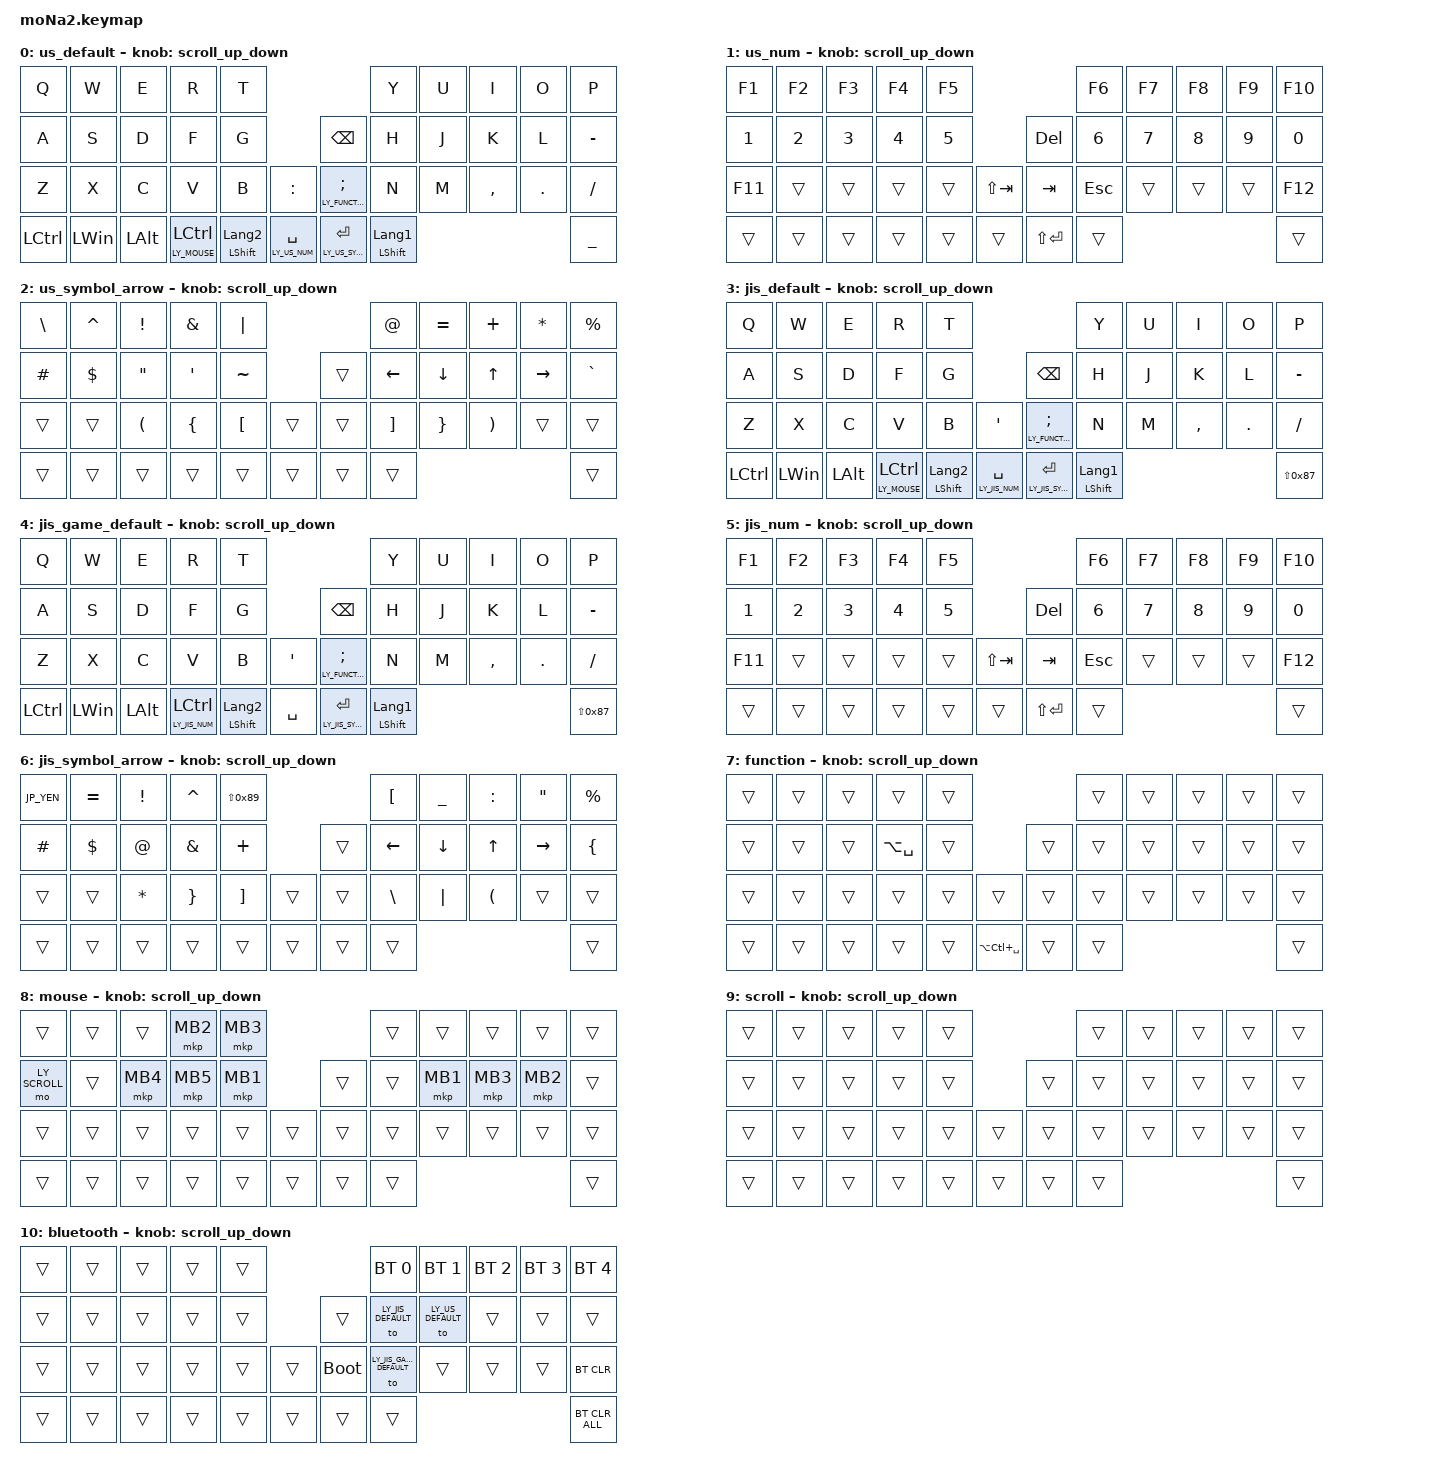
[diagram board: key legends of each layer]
#include <input/processors.dtsi>
#include <behaviors.dtsi>
#include <dt-bindings/zmk/bt.h>
#include <dt-bindings/zmk/keys.h>
#include <dt-bindings/zmk/pointing.h>

#define ZMK_POINTING_DEFAULT_SCRL_VAL 100
#define MOUSE 8
#define SCROLL 9

// OS設定を日本語キーボードのまま使用するための変換定義

#define JP_DQUOTE       AT                // "
#define JP_AMPERSAND    CARET             // &
#define JP_QUOTE        AMPERSAND         // '
#define JP_EQUAL        UNDER             // =
#define JP_CARET        EQUAL             // ^
#define JP_YEN          0x89              // ¥
#define JP_PLUS         COLON             // +
#define JP_TILDE        PLUS              // ~
#define JP_PIPE         LS(0x89)          // |
#define JP_AT           LEFT_BRACKET      // @
#define JP_COLON        SINGLE_QUOTE      // :
#define JP_ASTERISK     DOUBLE_QUOTES     // *
#define JP_BACKQUOTE    LEFT_BRACE        // `
#define JP_UNDERSCORE   LS(0x87)          // _
#define JP_LBRACKET     RIGHT_BRACKET     // [
#define JP_RBRACKET     BACKSLASH         // ]
#define JP_LPAREN       ASTERISK          // (
#define JP_RPAREN       LEFT_PARENTHESIS  // )
#define JP_LBRACE       RIGHT_BRACE       // {
#define JP_RBRACE       PIPE              // }
#define JP_KANA         LANGUAGE_1        // かな
#define JP_EISU         LANGUAGE_2        // 英数
#define JP_HANZEN       GRAVE             // 半角/全角

// レイヤー定義

#define LY_US_DEFAULT              0
#define LY_US_NUM                  1
#define LY_US_SYMBOL_ARROW         2
#define LY_JIS_DEFAULT             3
#define LY_JIS_GAME_DEFAULT        4
#define LY_JIS_NUM                 5
#define LY_JIS_SYMBOL_ARROW        6
#define LY_FUNCTION                7
#define LY_MOUSE                   8
#define LY_SCROLL                  9
#define LY_BLUETOOTH               10

&lt {
    flavor = "tap-preferred";
    quick-tap-ms = <175>;
    tapping-term-ms = <200>;
};

&mt {
    flavor = "tap-preferred";
    quick-tap-ms = <175>;
    tapping-term-ms = <200>;
};

&mkp_input_listener { input-processors = <&zip_temp_layer MOUSE 10000>; };

/ {
    combos {
        compatible = "zmk,combos";

        bluetoothLayer {
            bindings = <&mo LY_BLUETOOTH>;
            key-positions = <0 1>;
        };
    };

    macros {
        to_layer_0: to_layer_0 {
            compatible = "zmk,behavior-macro-one-param";
            #binding-cells = <1>;
            bindings = <&to 0 &macro_param_1to1 &kp MACRO_PLACEHOLDER>;
            label = "TO_LAYER_0";
        };

        exit_AML: exit_AML {
            compatible = "zmk,behavior-macro";
            wait-ms = <0>;
            tap-ms = <0>;
            #binding-cells = <0>;
            bindings = <&tog_off MOUSE>;
            label = "exit_AML";
        };

        kp_exit_AML: kp_exit_AML {
            compatible = "zmk,behavior-macro-one-param";
            wait-ms = <0>;
            tap-ms = <0>;
            #binding-cells = <1>;
            bindings = <&macro_param_1to1 &kp MACRO_PLACEHOLDER &exit_AML>;
            label = "KP_exit_AML";
        };
    };

    behaviors {
        lt_to_layer_0: lt_to_layer_0 {
            compatible = "zmk,behavior-hold-tap";
            label = "LAYER_TAP_TO_0";
            bindings = <&mo>, <&to_layer_0>;

            #binding-cells = <2>;
            tapping-term-ms = <200>;
        };

        scroll_up_down: behavior_sensor_rotate_mouse_wheel_up_down {
            compatible = "zmk,behavior-sensor-rotate";
            #sensor-binding-cells = <0>;
            bindings = <&msc SCRL_UP>, <&msc SCRL_DOWN>;

            tap-ms = <20>;
        };

        tog_off: toggle_layer_off {
            compatible = "zmk,behavior-toggle-layer";
            #binding-cells = <1>;
            display-name = "Toggle Layer Off";
            toggle-mode = "off";
        };

        mt_exit_AML_on_tap: mt_exit_AML_on_tap {
            compatible = "zmk,behavior-hold-tap";
            label = "MT_exit_AML_ON_TAP";
            bindings = <&kp>, <&kp_exit_AML>;

            #binding-cells = <2>;
            tapping-term-ms = <200>;
            flavor = "balanced";
            quick-tap-ms = <200>;
        };
    };

    keymap {
        compatible = "zmk,keymap";

        us_default {
            bindings = <
&kp Q      &kp W         &kp E         &kp R               &kp T                                                                           &kp Y                      &kp U  &kp I      &kp O    &kp P
&kp A      &kp S         &kp D         &kp F               &kp G                                             &kp BACKSPACE                 &kp H                      &kp J  &kp K      &kp L    &kp MINUS
&kp Z      &kp X         &kp C         &kp V               &kp B                      &kp COLON              &lt LY_FUNCTION SEMICOLON     &kp N                      &kp M  &kp COMMA  &kp DOT  &kp SLASH
&kp LCTRL  &kp LEFT_WIN  &kp LEFT_ALT  &lt LY_MOUSE LCTRL  &mt LEFT_SHIFT LANGUAGE_2  &lt LY_US_NUM SPACE    &lt LY_US_SYMBOL_ARROW ENTER  &mt LEFT_SHIFT LANGUAGE_1                             &kp UNDERSCORE
            >;

            sensor-bindings = <&scroll_up_down>;
        };

        us_num {
            bindings = <
&kp F1        &kp F2        &kp F3        &kp F4        &kp F5                                      &kp F6        &kp F7        &kp F8        &kp F9        &kp F10
&kp NUMBER_1  &kp NUMBER_2  &kp NUMBER_3  &kp NUMBER_4  &kp NUMBER_5                 &kp DELETE     &kp NUMBER_6  &kp NUMBER_7  &kp NUMBER_8  &kp NUMBER_9  &kp NUMBER_0
&kp F11       &trans        &trans        &trans        &trans        &kp LS(TAB)    &kp TAB        &kp ESCAPE    &trans        &trans        &trans        &kp F12
&trans        &trans        &trans        &trans        &trans        &trans         &kp LS(ENTER)  &trans                                                  &trans
            >;

            sensor-bindings = <&scroll_up_down>;
        };

        us_symbol_arrow {
            bindings = <
&kp BACKSLASH  &kp CARET   &kp EXCLAMATION       &kp AMPERSAND     &kp PIPE                            &kp AT             &kp EQUAL        &kp PLUS               &kp ASTERISK     &kp PERCENT
&kp HASH       &kp DOLLAR  &kp DOUBLE_QUOTES     &kp SINGLE_QUOTE  &kp TILDE                   &trans  &kp LEFT_ARROW     &kp DOWN_ARROW   &kp UP_ARROW           &kp RIGHT_ARROW  &kp GRAVE
&trans         &trans      &kp LEFT_PARENTHESIS  &kp LEFT_BRACE    &kp LEFT_BRACKET  &trans    &trans  &kp RIGHT_BRACKET  &kp RIGHT_BRACE  &kp RIGHT_PARENTHESIS  &trans           &trans
&trans         &trans      &trans                &trans            &trans            &trans    &trans  &trans                                                                      &trans
            >;

            sensor-bindings = <&scroll_up_down>;
        };

        jis_default {
            bindings = <
&kp Q      &kp W         &kp E         &kp R               &kp T                                                                          &kp Y                   &kp U  &kp I      &kp O       &kp P
&kp A      &kp S         &kp D         &kp F               &kp G                                           &kp BACKSPACE                  &kp H                   &kp J  &kp K      &kp L       &kp MINUS
&kp Z      &kp X         &kp C         &kp V               &kp B                   &kp JP_COLON            &lt LY_FUNCTION SEMICOLON      &kp N                   &kp M  &kp COMMA  &kp PERIOD  &kp SLASH
&kp LCTRL  &kp LEFT_WIN  &kp LEFT_ALT  &lt LY_MOUSE LCTRL  &mt LEFT_SHIFT JP_EISU  &lt LY_JIS_NUM SPACE    &lt LY_JIS_SYMBOL_ARROW ENTER  &mt LEFT_SHIFT JP_KANA                                &kp JP_UNDERSCORE
            >;

            sensor-bindings = <&scroll_up_down>;
        };

        jis_game_default {
            bindings = <
&kp Q      &kp W         &kp E         &kp R                 &kp T                                                                  &kp Y                   &kp U  &kp I      &kp O       &kp P
&kp A      &kp S         &kp D         &kp F                 &kp G                                   &kp BACKSPACE                  &kp H                   &kp J  &kp K      &kp L       &kp MINUS
&kp Z      &kp X         &kp C         &kp V                 &kp B                   &kp JP_COLON    &lt LY_FUNCTION SEMICOLON      &kp N                   &kp M  &kp COMMA  &kp PERIOD  &kp SLASH
&kp LCTRL  &kp LEFT_WIN  &kp LEFT_ALT  &lt LY_JIS_NUM LCTRL  &mt LEFT_SHIFT JP_EISU  &kp SPACE       &lt LY_JIS_SYMBOL_ARROW ENTER  &mt LEFT_SHIFT JP_KANA                                &kp JP_UNDERSCORE
            >;

            sensor-bindings = <&scroll_up_down>;
        };

        jis_num {
            bindings = <
&kp F1        &kp F2        &kp F3        &kp F4        &kp F5                                      &kp F6        &kp F7        &kp F8        &kp F9        &kp F10
&kp NUMBER_1  &kp NUMBER_2  &kp NUMBER_3  &kp NUMBER_4  &kp NUMBER_5                 &kp DELETE     &kp NUMBER_6  &kp NUMBER_7  &kp NUMBER_8  &kp NUMBER_9  &kp NUMBER_0
&kp F11       &trans        &trans        &trans        &trans        &kp LS(TAB)    &kp TAB        &kp ESCAPE    &trans        &trans        &trans        &kp F12
&trans        &trans        &trans        &trans        &trans        &trans         &kp LS(ENTER)  &trans                                                  &trans
            >;

            sensor-bindings = <&scroll_up_down>;
        };

        jis_symbol_arrow {
            bindings = <
&kp JP_YEN  &kp JP_CARET  &kp EXCLAMATION  &kp JP_AMPERSAND  &kp JP_PIPE                        &kp JP_AT        &kp JP_EQUAL    &kp JP_PLUS    &kp JP_ASTERISK  &kp PERCENT
&kp HASH    &kp DOLLAR    &kp JP_DQUOTE    &kp JP_QUOTE      &kp JP_TILDE               &trans  &kp LEFT_ARROW   &kp DOWN_ARROW  &kp UP_ARROW   &kp RIGHT_ARROW  &kp JP_BACKQUOTE
&trans      &trans        &kp JP_LPAREN    &kp JP_LBRACE     &kp JP_LBRACKET  &trans    &trans  &kp JP_RBRACKET  &kp JP_RBRACE   &kp JP_RPAREN  &trans           &trans
&trans      &trans        &trans           &trans            &trans           &trans    &trans  &trans                                                           &trans
            >;

            sensor-bindings = <&scroll_up_down>;
        };

        function {
            bindings = <
&trans  &trans  &trans  &trans         &trans                               &trans  &trans  &trans  &trans  &trans
&trans  &trans  &trans  &kp LA(SPACE)  &trans                       &trans  &trans  &trans  &trans  &trans  &trans
&trans  &trans  &trans  &trans         &trans  &trans               &trans  &trans  &trans  &trans  &trans  &trans
&trans  &trans  &trans  &trans         &trans  &kp LA(LC(SPACE))    &trans  &trans                          &trans
            >;

            sensor-bindings = <&scroll_up_down>;
        };

        mouse {
            bindings = <
&trans         &trans  &trans    &mkp MB2  &mkp MB3                    &trans  &trans    &trans    &trans    &trans
&mo LY_SCROLL  &trans  &mkp MB4  &mkp MB5  &mkp MB1            &trans  &trans  &mkp MB1  &mkp MB3  &mkp MB2  &trans
&trans         &trans  &trans    &trans    &trans    &trans    &trans  &trans  &trans    &trans    &trans    &trans
&trans         &trans  &trans    &trans    &trans    &trans    &trans  &trans                                &trans
            >;

            sensor-bindings = <&scroll_up_down>;
        };

        scroll {
            bindings = <
&trans  &trans  &trans  &trans  &trans                    &trans  &trans  &trans  &trans  &trans
&trans  &trans  &trans  &trans  &trans            &trans  &trans  &trans  &trans  &trans  &trans
&trans  &trans  &trans  &trans  &trans  &trans    &trans  &trans  &trans  &trans  &trans  &trans
&trans  &trans  &trans  &trans  &trans  &trans    &trans  &trans                          &trans
            >;

            sensor-bindings = <&scroll_up_down>;
        };

        bluetooth {
            bindings = <
&trans  &trans  &trans  &trans  &trans                         &bt BT_SEL 0             &bt BT_SEL 1       &bt BT_SEL 2  &bt BT_SEL 3  &bt BT_SEL 4
&trans  &trans  &trans  &trans  &trans            &trans       &to LY_JIS_DEFAULT       &to LY_US_DEFAULT  &trans        &trans        &trans
&trans  &trans  &trans  &trans  &trans  &trans    &bootloader  &to LY_JIS_GAME_DEFAULT  &trans             &trans        &trans        &bt BT_CLR
&trans  &trans  &trans  &trans  &trans  &trans    &trans       &trans                                                                  &bt BT_CLR_ALL
            >;

            sensor-bindings = <&scroll_up_down>;
        };
    };
};
